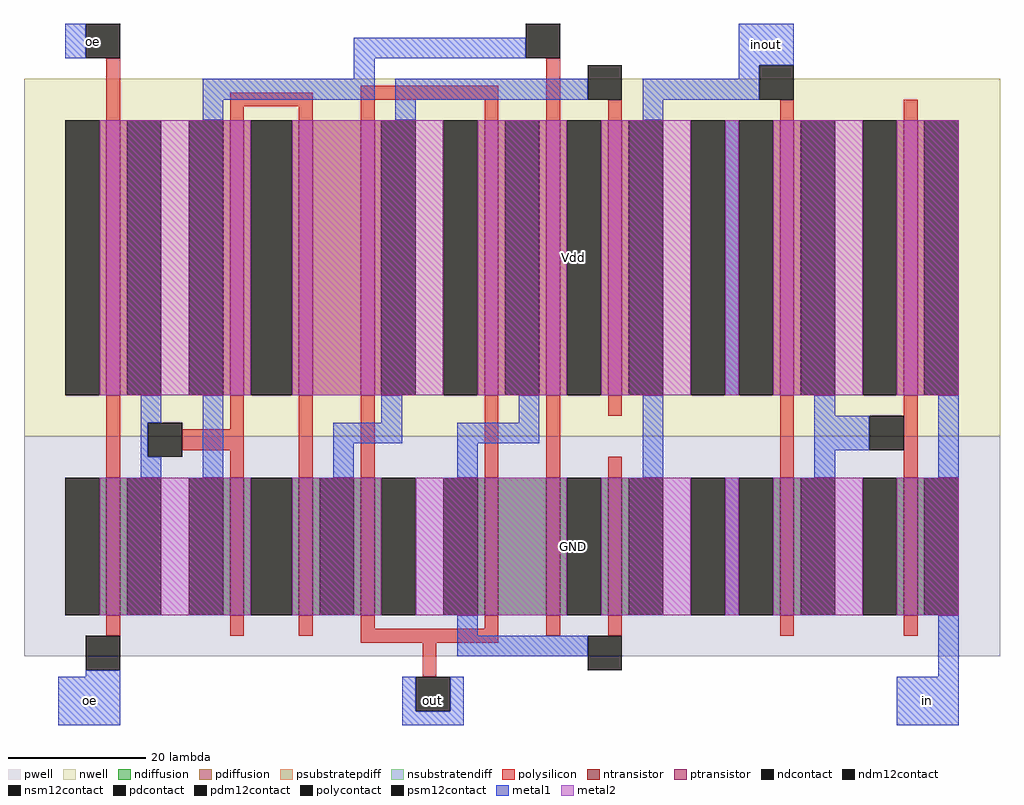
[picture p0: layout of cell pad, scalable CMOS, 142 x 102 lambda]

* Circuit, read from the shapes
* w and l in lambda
.subckt pad GND Vdd in inout oe out
M1 n1 oe GND GND nfet w=20 l=2
M2 GND n1 n2 GND nfet w=20 l=2
M3 n3 n1 GND GND nfet w=20 l=2
M4 GND out n3 GND nfet w=20 l=2
M5 n4 out n5 GND nfet w=20 l=2
M6 GND n2 n4 GND nfet w=20 l=2
M7 inout n5 GND GND nfet w=20 l=2
M8 n6 inout GND GND nfet w=20 l=2
M9 in n6 GND GND nfet w=20 l=2
M10 n1 oe Vdd Vdd pfet w=40 l=2
M11 Vdd n1 n2 Vdd pfet w=40 l=2
M12 n7 n1 Vdd Vdd pfet w=40 l=2
M13 n3 out n7 Vdd pfet w=40 l=2
M14 n5 out Vdd Vdd pfet w=40 l=2
M15 Vdd n2 n5 Vdd pfet w=40 l=2
M16 inout n3 Vdd Vdd pfet w=40 l=2
M17 n6 inout Vdd Vdd pfet w=40 l=2
M18 in n6 Vdd Vdd pfet w=40 l=2
.ends

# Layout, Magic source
magic
tech scmos
<< nwell >>
rect 85 17 227 69
<< pwell >>
rect 85 -15 227 17
<< ntransistor >>
rect 97 -9 99 11
rect 115 -9 117 11
rect 125 -9 127 11
rect 134 -9 136 11
rect 152 -9 154 11
rect 161 -9 163 11
rect 170 -9 172 11
rect 195 -9 197 11
rect 213 -9 215 11
<< ptransistor >>
rect 97 23 99 63
rect 115 23 117 63
rect 125 23 127 63
rect 134 23 136 63
rect 152 23 154 63
rect 161 23 163 63
rect 170 23 172 63
rect 195 23 197 63
rect 213 23 215 63
<< ndiffusion >>
rect 96 -9 97 11
rect 99 -9 100 11
rect 114 -9 115 11
rect 117 -9 118 11
rect 124 -9 125 11
rect 127 -9 128 11
rect 133 -9 134 11
rect 136 -9 137 11
rect 151 -9 152 11
rect 154 -9 161 11
rect 163 -9 164 11
rect 169 -9 170 11
rect 172 -9 173 11
rect 194 -9 195 11
rect 197 -9 198 11
rect 212 -9 213 11
rect 215 -9 216 11
<< pdiffusion >>
rect 96 23 97 63
rect 99 23 100 63
rect 114 23 115 63
rect 117 23 118 63
rect 124 23 125 63
rect 127 23 134 63
rect 136 23 137 63
rect 151 23 152 63
rect 154 23 155 63
rect 160 23 161 63
rect 163 23 164 63
rect 169 23 170 63
rect 172 23 173 63
rect 194 23 195 63
rect 197 23 198 63
rect 212 23 213 63
rect 215 23 216 63
<< ndcontact >>
rect 100 -9 105 11
rect 109 -9 114 11
rect 128 -9 133 11
rect 146 -9 151 11
rect 173 -9 178 11
rect 198 -9 203 11
rect 216 -9 221 11
<< pdcontact >>
rect 100 23 105 63
rect 109 23 114 63
rect 137 23 142 63
rect 155 23 160 63
rect 173 23 178 63
rect 198 23 203 63
rect 216 23 221 63
<< psubstratepdiff >>
rect 187 -9 189 11
<< nsubstratendiff >>
rect 187 23 189 63
<< polysilicon >>
rect 97 63 99 72
rect 115 65 127 67
rect 115 63 117 65
rect 125 63 127 65
rect 134 66 154 68
rect 134 63 136 66
rect 152 63 154 66
rect 161 63 163 72
rect 170 63 172 66
rect 195 63 197 66
rect 213 63 215 66
rect 97 11 99 23
rect 115 18 117 23
rect 108 15 117 18
rect 115 11 117 15
rect 125 11 127 23
rect 134 11 136 23
rect 152 11 154 23
rect 161 11 163 23
rect 170 20 172 23
rect 170 11 172 14
rect 195 11 197 23
rect 213 11 215 23
rect 97 -12 99 -9
rect 115 -12 117 -9
rect 125 -12 127 -9
rect 134 -11 136 -9
rect 152 -11 154 -9
rect 134 -13 154 -11
rect 161 -12 163 -9
rect 170 -12 172 -9
rect 195 -12 197 -9
rect 213 -12 215 -9
rect 143 -18 145 -13
<< polycontact >>
rect 94 72 99 77
rect 158 72 163 77
rect 167 66 172 71
rect 192 66 197 71
rect 103 14 108 19
rect 208 15 213 20
rect 94 -17 99 -12
rect 167 -17 172 -12
rect 142 -23 147 -18
<< metal1 >>
rect 91 72 94 77
rect 133 72 158 75
rect 133 69 136 72
rect 189 71 197 77
rect 111 66 136 69
rect 139 66 167 69
rect 189 69 192 71
rect 175 66 192 69
rect 111 63 114 66
rect 139 63 142 66
rect 175 63 178 66
rect 187 23 189 63
rect 102 19 105 23
rect 102 14 103 19
rect 102 11 105 14
rect 111 11 114 23
rect 137 19 140 23
rect 157 19 160 23
rect 130 16 140 19
rect 148 16 160 19
rect 130 11 133 16
rect 148 11 151 16
rect 175 11 178 23
rect 200 20 203 23
rect 200 15 208 20
rect 200 11 203 15
rect 218 11 221 23
rect 187 -9 189 11
rect 148 -12 151 -9
rect 148 -15 167 -12
rect 94 -18 99 -17
rect 218 -18 221 -9
rect 90 -25 99 -18
rect 140 -23 142 -18
rect 147 -23 149 -18
rect 140 -25 149 -23
rect 212 -25 221 -18
<< pdm12contact >>
rect 91 23 96 63
rect 118 23 124 63
rect 146 23 151 63
rect 164 23 169 63
rect 189 23 194 63
rect 207 23 212 63
<< psm12contact >>
rect 182 -9 187 11
<< ndm12contact >>
rect 91 -9 96 11
rect 118 -9 124 11
rect 137 -9 142 11
rect 164 -9 169 11
rect 189 -9 194 11
rect 207 -9 212 11
<< nsm12contact >>
rect 182 23 187 63
<< metal2 >>
rect 96 23 118 63
rect 124 23 146 63
rect 151 23 164 63
rect 169 23 182 63
rect 187 23 189 63
rect 194 23 207 63
rect 212 23 221 63
rect 96 -9 118 11
rect 124 -9 137 11
rect 142 -9 164 11
rect 169 -9 182 11
rect 187 -9 189 11
rect 194 -9 207 11
rect 212 -9 221 11
<< labels >>
rlabel metal1 140 -25 149 -18 5 out
rlabel metal1 212 -25 221 -18 5 in
rlabel metal1 189 71 197 77 1 inout
rlabel metal2 109 23 221 63 1 Vdd
rlabel metal2 109 -9 221 11 1 GND
rlabel metal1 90 -25 99 -18 5 oe
rlabel metal1 91 72 99 77 1 oe
<< end >>
